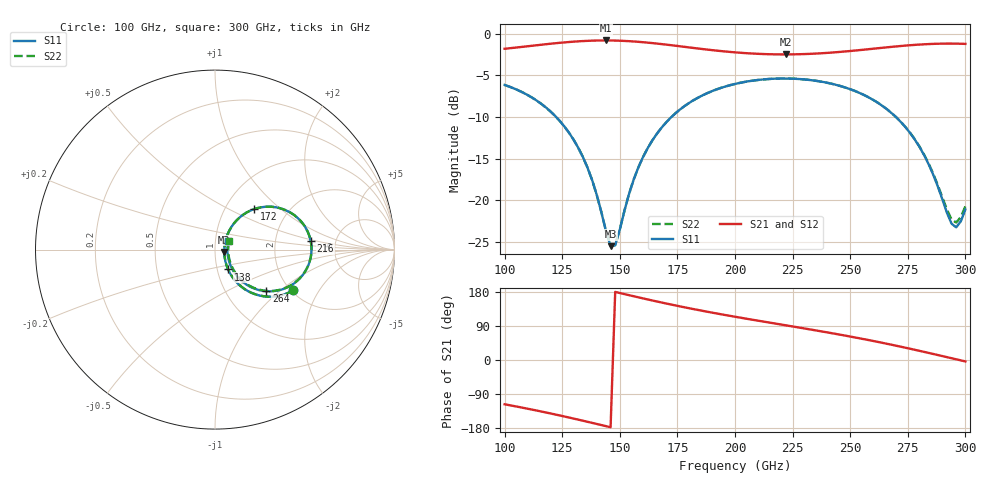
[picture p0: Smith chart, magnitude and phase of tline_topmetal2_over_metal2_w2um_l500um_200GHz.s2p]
#  GHZ S DB R 50
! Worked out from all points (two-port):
!   101 points, 100 GHz to 300 GHz, reference 50 ohm
!   highest |S21| = -0.83 dB at 144 GHz (marker M1); lowest = -2.5 dB at 222 GHz (marker M2)
!   |S21| within 3 dB of the highest: start of sweep to end of sweep
!   lowest |S11| = -25.5 dB at 146 GHz (marker M3), VSWR 1.11, Z = 55.4 - j1.44 ohm
!   |S11| at or under -10 dB: 122.3 GHz to 172.4 GHz (50.08 GHz wide, 34 % of centre); 269.8 GHz to end of sweep
!   |S22| runs from -25.5 to -5.4 dB; largest |S21 - S12| = 9e-14
!   S11 on the Smith chart (normalised r, x): 100 GHz: 2.06, -1.23; 138 GHz: 1.13, -0.25; 172 GHz: 1.36, +0.68; 216 GHz: 3.24, +0.42; 264 GHz: 1.53, -0.82; 300 GHz: 1.15, +0.11
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100  -6.16 -27.4  -1.82 -116.8  -1.82 -116.8  -6.16 -27.4
120  -9.36 -47.5  -1.22 -141.2  -1.22 -141.2  -9.36 -47.5
134  -14.81 -57.7  -0.90 -160.2  -0.90 -160.2  -14.81 -57.7
138  -17.58 -56.6  -0.85 -165.9  -0.85 -165.9  -17.58 -56.5
144  -23.69 -35.5  -0.83 -174.6  -0.83 -174.6  -23.68 -35.4
146  -25.48 -14.1  -0.83 -177.4  -0.83 -177.4  -25.46 -14.0
148  -25.38 12.9  -0.84 179.7  -0.84 179.7  -25.35 13.0
158  -16.08 54.1  -0.99 165.5  -0.99 165.5  -16.08 54.1
168  -11.33 49.6  -1.26 151.9  -1.26 151.9  -11.32 49.6
172  -10.11 46.1  -1.39 146.7  -1.39 146.7  -10.11 46.2
186  -7.40 32.8  -1.86 129.7  -1.86 129.7  -7.40 32.9
200  -6.04 19.6  -2.25 114.2  -2.25 114.2  -6.04 19.7
216  -5.43 5.0  -2.49 97.6  -2.49 97.6  -5.43 5.1
222  -5.39 -0.4  -2.50 91.5  -2.50 91.5  -5.39 -0.2
234  -5.62 -11.2  -2.42 79.2  -2.42 79.2  -5.62 -11.0
250  -6.67 -26.0  -2.09 61.9  -2.09 61.9  -6.67 -25.7
264  -8.67 -39.1  -1.71 45.3  -1.71 45.3  -8.67 -38.6
268  -9.54 -42.6  -1.60 40.2  -1.60 40.2  -9.53 -42.1
282  -14.53 -50.4  -1.29 21.5  -1.29 21.5  -14.47 -49.2
294  -22.79 -15.8  -1.21 4.7  -1.21 4.7  -22.28 -14.5
296  -23.23 2.6  -1.21 1.9  -1.21 1.9  -22.65 2.6
300  -21.09 33.2  -1.24 -3.8  -1.24 -3.8  -20.71 31.4
